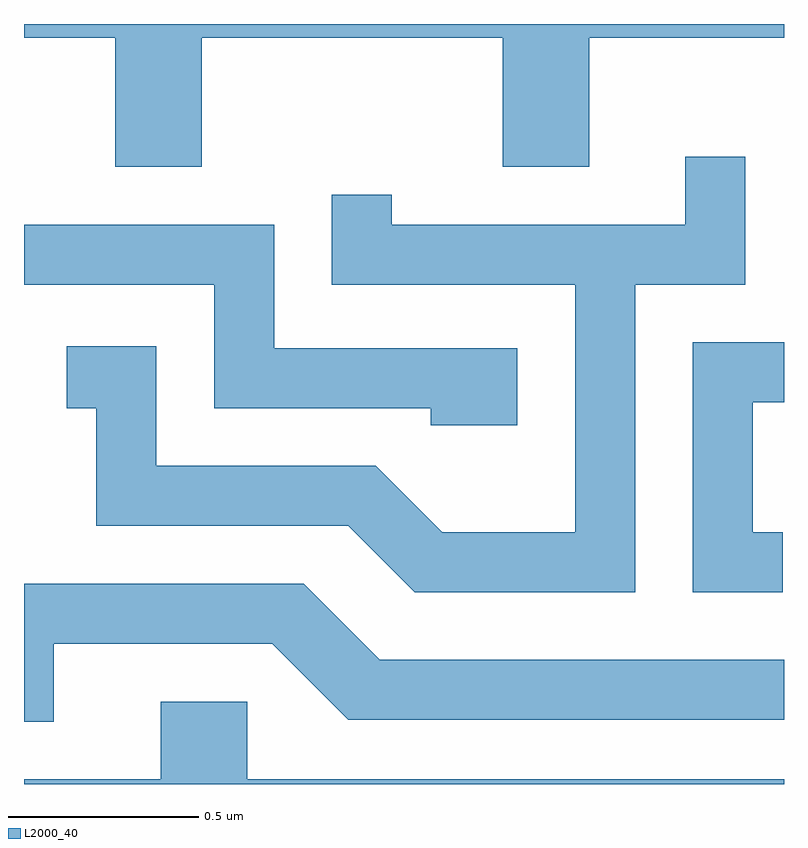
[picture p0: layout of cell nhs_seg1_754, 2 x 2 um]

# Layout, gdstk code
import gdstk
lib = gdstk.Library(unit=1e-6, precision=1e-09)
def P(c, l, *ps):  # polygons
    for p in ps: c.add(gdstk.Polygon(p, *l))
L2000_40 = (2000, 40)

nhs_seg1_754 = lib.new_cell('nhs_seg1_754')
P(nhs_seg1_754, L2000_40, [(191.079,910.676),(191.871,910.676),(191.871,910.336),(192.099,910.336),(192.099,910.676),(192.611,910.676),(192.611,910.712),(190.611,910.712),(190.611,910.676),(190.851,910.676),(190.851,910.336),(191.079,910.336)],
  [(192.219,910.026),(192.509,910.026),(192.509,910.363),(192.351,910.363),(192.351,910.184),(191.579,910.184),(191.579,910.263),(191.421,910.263),(191.421,910.026),(192.061,910.026),(192.061,909.374),(191.712,909.374),(191.537,909.549),(190.959,909.549),(190.959,909.864),(190.723,909.864),(190.723,909.701),(190.801,909.701),(190.801,909.391),(191.464,909.391),(191.639,909.216),(192.219,909.216)],
  [(191.909,909.859),(191.269,909.859),(191.269,910.184),(190.611,910.184),(190.611,910.026),(191.111,910.026),(191.111,909.701),(191.681,909.701),(191.681,909.656),(191.909,909.656)],
  [(192.608,909.374),(192.529,909.374),(192.529,909.716),(192.611,909.716),(192.611,909.874),(192.371,909.874),(192.371,909.216),(192.608,909.216)],
  [(190.689,909.081),(191.264,909.081),(191.464,908.881),(192.611,908.881),(192.611,909.039),(191.547,909.039),(191.347,909.239),(190.611,909.239),(190.611,908.876),(190.689,908.876)],
  [(192.611,908.724),(191.199,908.724),(191.199,908.929),(190.971,908.929),(190.971,908.724),(190.611,908.724),(190.611,908.712),(192.611,908.712)])

lib.write_gds('nhs_seg1_754.gds')
